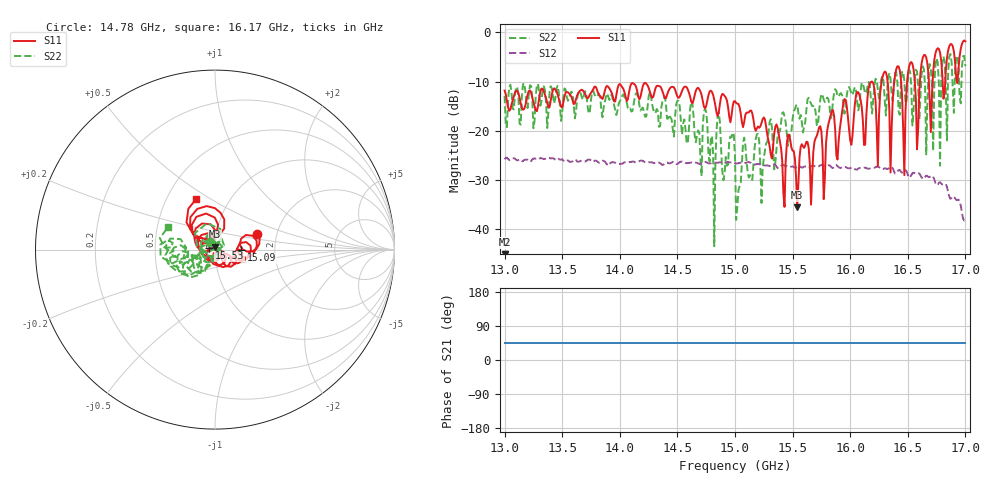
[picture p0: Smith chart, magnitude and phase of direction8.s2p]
!Keysight Technologies,P9374A,MY57211810,A.19.30.04
!Date: Friday, May 02, 2025 09:01:27
!Correction: S11(Off)
!S21(Off)
!S12(Off)
!S22(Off)
!S2P File: Measurements: S11, S21, S12, S22:
# Hz S  dB  R 50
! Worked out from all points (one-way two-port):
!   401 points, 13 GHz to 17 GHz, reference 50 ohm
!   highest |S21| = - dB at 13 GHz (marker M1); lowest = - dB at 13 GHz (marker M2)
!   lowest |S11| = -35.5 dB at 15.54 GHz (marker M3), VSWR 1.03, Z = 49.7 + j1.66 ohm
!   |S11| at or under -10 dB: start of sweep to 16.19 GHz; 16.19 GHz to 16.27 GHz (82.75 MHz wide, 0.51 % of centre); 16.32436 GHz to 16.38266 GHz (58.3 MHz wide, 0.357 % of centre) (the widest 3 of 8)
!   |S22| runs from -43.4 to -4.4 dB; largest |S21 - S12| = 0.054
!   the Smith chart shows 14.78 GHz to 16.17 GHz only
!   S11 on the Smith chart (normalised r, x): 14.78 GHz: 1.58, +0.30; 15.09 GHz: 1.34, -0.01; 15.53 GHz: 0.94, +0.01; 16.17 GHz: 0.70, +0.43
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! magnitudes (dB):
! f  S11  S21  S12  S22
! 13 GHz  -11.8  -  -25.7  -12.9
! 13.67 GHz  -11.7  -  -26.0  -13.2
! 14.34 GHz  -10.9  -  -26.4  -19.2
! 14.78 GHz  -12.0  -  -26.6  -26.2
! 15 GHz  -14.0  -  -26.5  -25.2
! 15.03 GHz  -14.5  -  -26.6  -32.0
! 15.09 GHz  -16.7  -  -26.5  -23.0
! 15.53 GHz  -29.4  -  -27.4  -14.8
! 15.54 GHz  -35.5  -  -27.3  -14.7
! 15.67 GHz  -29.2  -  -27.1  -15.0
! 16.17 GHz  -10.5  -  -27.7  -10.8
! 16.24 GHz  -27.2  -  -27.2  -11.7
! 16.3 GHz  -8.0  -  -27.6  -13.9
! 16.34 GHz  -16.0  -  -27.5  -8.3
! 16.41 GHz  -6.9  -  -28.3  -10.2
! 16.47 GHz  -29.0  -  -28.0  -9.9
! 16.52 GHz  -6.3  -  -29.4  -8.0
! 16.58 GHz  -23.7  -  -28.7  -7.9
! 16.64 GHz  -4.6  -  -29.7  -7.5
! 16.7 GHz  -20.2  -  -29.2  -7.1
! 16.75 GHz  -3.5  -  -31.0  -5.3
! 17 GHz  -1.8  -  -37.8  -6.9
